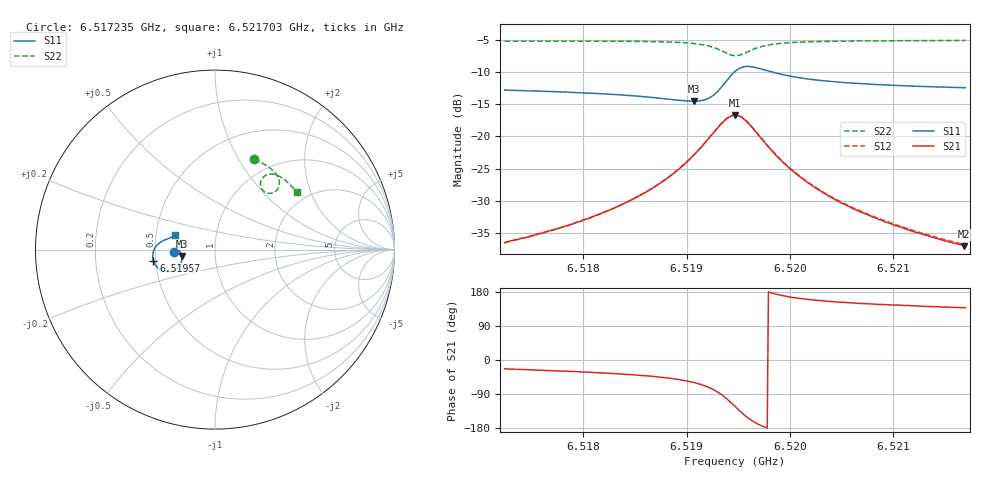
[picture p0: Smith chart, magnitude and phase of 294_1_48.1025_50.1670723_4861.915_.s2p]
#  HZ  S  RI  R  50.00
! Rohde & Schwarz Vector Network Analyzer
! Rohde-Schwarz,ZNB20-2Port,1311601062101988,3.16
! Created: UTC 12/23/2023, 4:04:05 AM
! freq[Hz]  re:S11  im:S11  re:S21  im:S21  re:S12  im:S12  re:S22  im:S22
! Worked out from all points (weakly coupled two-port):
!   401 points, 6.517235 GHz to 6.521703 GHz, reference 50 ohm
!   highest |S21| = -16.71 dB at 6.519469 GHz (marker M1); lowest = -37.0 dB at 6.521692 GHz (marker M2)
!   lowest |S11| = -14.5 dB at 6.519067 GHz (marker M3), VSWR 1.46, Z = 34.4 - j2.5 ohm
!   |S11| at or under -10 dB: start of sweep to 6.519463 GHz; 6.519828 GHz to end of sweep
!   |S22| runs from -7.5 to -5.1 dB; largest |S21 - S12| = 0.0045
!   S11 on the Smith chart (normalised r, x): 6.517235 GHz: 0.63, -0.02; 6.51957 GHz: 0.49, -0.07; 6.521703 GHz: 0.63, +0.11
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6.517235e9  -0.2287 -0.0121  0.0138 -0.00595  0.0139 -0.00561  0.2199 0.5027
6.5175255e9  -0.2254 -0.00802  0.0154 -0.00758  0.0155 -0.00708  0.2414 0.493
6.5179835e9  -0.2184 -0.00306  0.0188 -0.0116  0.0193 -0.011  0.2751 0.475
6.5183968e9  -0.2093 -0.00209  0.024 -0.0185  0.0246 -0.0177  0.3061 0.4542
6.518732e9  -0.1983 -0.0078  0.0303 -0.0303  0.0314 -0.0293  0.3322 0.4304
6.5189219e9  -0.1901 -0.0184  0.0345 -0.0435  0.0361 -0.0426  0.347 0.4106
6.5190671e9  -0.1843 -0.0351  0.0362 -0.0611  0.0385 -0.0606  0.3563 0.3888
6.5191676e9  -0.1837 -0.0549  0.0335 -0.0804  0.0361 -0.0799  0.3587 0.3675
6.519257e9  -0.1919 -0.0805  0.0223 -0.1035  0.0256 -0.1036  0.3524 0.3437
6.5193799e9  -0.2374 -0.1188  -0.024 -0.1332  -0.0203 -0.135  0.3164 0.3147
6.5194692e9  -0.2985 -0.1148  -0.0785 -0.1231  -0.0755 -0.1265  0.2737 0.3232
6.5195139e9  -0.325 -0.095  -0.0999 -0.1031  -0.0975 -0.1067  0.2586 0.3407
6.5195698e9  -0.3435 -0.0616  -0.1125 -0.0718  -0.1113 -0.0757  0.2526 0.3667
6.5196815e9  -0.3407 -0.0039  -0.1037 -0.0228  -0.1039 -0.026  0.27 0.4045
6.5198044e9  -0.3188 0.0289  -0.081 0.00199  -0.0818 -0.00048  0.2987 0.4191
6.5199943e9  -0.2908 0.0487  -0.0555 0.013  -0.0564 0.0117  0.3327 0.4184
6.5202177e9  -0.2707 0.0572  -0.0386 0.0151  -0.0396 0.014  0.3599 0.4078
6.5205975e9  -0.2516 0.0644  -0.0244 0.0136  -0.0251 0.0132  0.3922 0.3859
6.5209662e9  -0.2404 0.0695  -0.0175 0.012  -0.0181 0.0117  0.4163 0.3638
6.5212455e9  -0.234 0.0734  -0.0142 0.011  -0.0146 0.0106  0.4325 0.3467
6.5216923e9  -0.2255 0.0793  -0.0104 0.00947  -0.011 0.00951  0.4554 0.3191
6.5217035e9  -0.2254 0.0793  -0.0106 0.00953  -0.0109 0.0095  0.4558 0.3183
